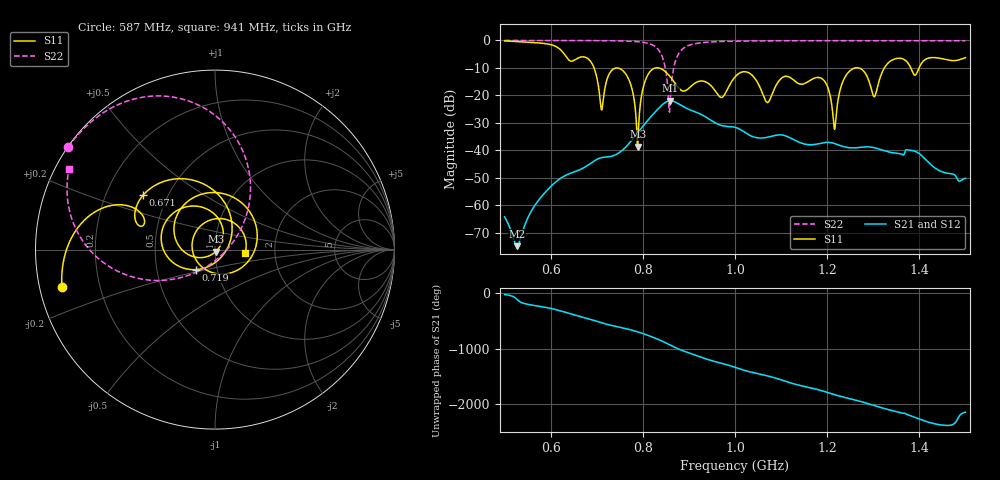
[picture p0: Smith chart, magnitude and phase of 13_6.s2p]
! TOUCHSTONE file generated by CST MICROWAVE STUDIO
! Date and time: Tue Nov 17 07:11:41 2020
! Project name: Scenario_1_Planar_Body_Tissue_Out_of_Line.cst
! Header version: 2018
! Port assignment regex: !\s*Touchstone port\s*([0-9]+)\s*=\s*(CST MWS port|CST DS port)\s*([0-9]+|Zmin|Zmax)\s*\(\"(.*)\"\)(\s*mode\s*([0-9]+))?.*
! Touchstone port assignment:
! Touchstone port 1 = CST MWS port 1 ("")
! Touchstone port 2 = CST MWS port 2 ("")
# GHz S DB R 50
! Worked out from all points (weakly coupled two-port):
!   1003 points, 500 MHz to 1.5 GHz, reference 50 ohm
!   highest |S21| = -21.96 dB at 860 MHz (marker M1); lowest = -74.9 dB at 527 MHz (marker M2)
!   lowest |S11| = -38.7 dB at 789 MHz (marker M3), VSWR 1.02, Z = 50.4 - j1.1 ohm
!   |S11| at or under -10 dB: 694.1 MHz to 827.3 MHz (133.2 MHz wide, 17.5 % of centre); 834.3 MHz to 1.261 GHz (426.8 MHz wide, 40.7 % of centre); 1.268 GHz to 1.324 GHz (55.87 MHz wide, 4.31 % of centre) (the widest 3 of 4)
!   |S22| runs from -26.1 to 0.0 dB; largest |S21 - S12| = 4.8e-05
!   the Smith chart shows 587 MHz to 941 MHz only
!   S11 on the Smith chart (normalised r, x): 587 MHz: 0.07, -0.12; 671 MHz: 0.36, +0.29; 719 MHz: 0.79, -0.18; 941 MHz: 1.40, -0.06
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0.5  -0.16 -121.6  -64.18 -19.5  -64.18 -19.5  -0.01 151.2
0.527  -0.43 -132.6  -74.85 -107.4  -74.85 -107.4  -0.01 149.4
0.587  -1.13 -166.4  -55.45 112.5  -55.45 112.5  -0.02 145.1
0.667  -5.99 149.3  -46.75 -62.3  -46.75 -62.3  -0.04 138.4
0.671  -5.98 143.0  -46.40 -71.2  -46.40 -71.2  -0.04 138.0
0.71  -25.21 -26.8  -42.66 -167.7  -42.66 -167.7  -0.08 133.6
0.719  -16.25 -133.6  -42.44 170.1  -42.44 170.1  -0.09 132.4
0.76  -11.58 113.3  -39.27 91.0  -39.27 91.0  -0.21 125.4
0.789  -38.68 -69.5  -33.55 26.6  -33.55 26.6  -0.46 117.3
0.806  -14.30 177.4  -30.00 -20.7  -30.00 -20.7  -0.84 109.5
0.834  -9.99 84.9  -24.75 -111.1  -24.75 -111.1  -3.41 83.2
0.86  -13.35 -5.3  -21.96 145.1  -21.96 145.1  -20.21 -113.2
0.881  -17.84 -99.2  -23.42 65.6  -23.42 65.6  -4.03 -173.6
0.941  -15.50 -6.8  -28.32 -111.3  -28.32 -111.3  -0.64 151.1
1  -13.29 58.7  -31.58 107.7  -31.58 107.7  -0.27 140.2
1.07  -22.59 147.5  -35.24 -45.9  -35.24 -45.9  -0.14 132.4
1.167  -14.14 75.7  -37.94 91.4  -37.94 91.4  -0.10 124.2
1.216  -32.37 -145.9  -37.52 -25.7  -37.52 -25.7  -0.09 120.4
1.247  -11.43 54.8  -39.01 -93.9  -39.01 -93.9  -0.09 118.1
1.302  -20.50 11.9  -39.00 137.7  -39.00 137.7  -0.08 113.9
1.334  -7.94 24.8  -40.59 61.7  -40.59 61.7  -0.09 111.5
1.5  -6.29 -43.3  -50.16 16.0  -50.16 16.0  -0.13 97.9
